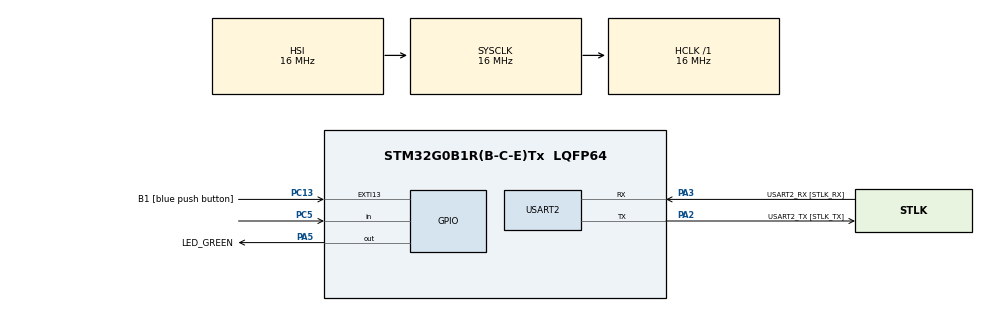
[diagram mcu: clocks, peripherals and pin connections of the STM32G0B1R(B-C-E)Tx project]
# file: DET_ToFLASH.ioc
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Mcu.Family=STM32G0
Mcu.Name=STM32G0B1R(B-C-E)Tx
Mcu.Package=LQFP64
NVIC.EXTI4_15_IRQn=true\:0\:0\:false\:false\:true\:true\:true\:true
PA13.GPIO_Label=TMS
PA13.Mode=Serial_Wire
PA13.Signal=SYS_SWDIO
PA14-BOOT0.GPIO_Label=TCK
PA14-BOOT0.Mode=Serial_Wire
PA14-BOOT0.Signal=SYS_SWCLK
PA2.GPIO_Label=USART2_TX [STLK_TX]
PA2.Mode=Asynchronous
PA2.Signal=USART2_TX
PA3.GPIO_Label=USART2_RX [STLK_RX]
PA3.Mode=Asynchronous
PA3.Signal=USART2_RX
PA5.GPIO_Label=LED_GREEN
PA5.GPIO_Speed=GPIO_SPEED_FREQ_HIGH
PA5.Signal=GPIO_Output
PC13.GPIO_Label=B1 [blue push button]
PC13.GPIO_ModeDefaultEXTI=GPIO_MODE_IT_FALLING
PC13.Signal=GPXTI13
PC14-OSC32_IN\ (PC14).Mode=LSE-External-Oscillator
PC14-OSC32_IN\ (PC14).Signal=RCC_OSC32_IN
PC15-OSC32_OUT\ (PC15).Mode=LSE-External-Oscillator
PC15-OSC32_OUT\ (PC15).Signal=RCC_OSC32_OUT
PC5.GPIO_PuPd=GPIO_PULLDOWN
PC5.Signal=GPIO_Input
PF0-OSC_IN\ (PF0).GPIO_Label=MCO
PF0-OSC_IN\ (PF0).Mode=HSE-External-Clock-Source
PF0-OSC_IN\ (PF0).Signal=RCC_OSC_IN
ProjectManager.HeapSize=0x200
ProjectManager.StackSize=0x400
ProjectManager.TargetToolchain=STM32CubeIDE
RCC.AHBFreq_Value=16000000
RCC.CortexFreq_Value=16000000
RCC.EXTERNAL_CLOCK_VALUE=12288000
RCC.HCLKFreq_Value=16000000
RCC.HSE_VALUE=8000000
RCC.HSI48_VALUE=48000000
RCC.HSI_VALUE=16000000
RCC.SYSCLKFreq_VALUE=16000000
RCC.USBFreq_Value=48000000
RCC.VCOOutputFreq_Value=128000000
USART2.VirtualMode-Asynchronous=VM_ASYNC
board=NUCLEO-G0B1RE

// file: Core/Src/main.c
/* USER CODE BEGIN Header */
/**
  ******************************************************************************
  * @file           : main.c
  * @brief          : Main program body
  ******************************************************************************
  * @attention
  *
  * Copyright (c) 2025 STMicroelectronics.
  * All rights reserved.
  *
  * This software is licensed under terms that can be found in the LICENSE file
  * in the root directory of this software component.
  * If no LICENSE file comes with this software, it is provided AS-IS.
  *
  ******************************************************************************
  */
/* USER CODE END Header */
#include "main.h"

UART_HandleTypeDef huart2;

/* USER CODE BEGIN PV */

uint32_t FirstPage = 0, NbOfPages = 0, BankNumber = 0;
uint32_t Address = 0, PageError = 0;

/*Variable used for Erase procedure*/
static FLASH_EraseInitTypeDef EraseInitStruct;

/* USER CODE END PV */

void SystemClock_Config(void);
static void MX_GPIO_Init(void);
static void MX_USART2_UART_Init(void);

void writeToFlash(uint32_t address, uint32_t data);
void eraseFlash(uint32_t startAddress, uint32_t endAddress);

static uint32_t GetPage(uint32_t Address);
static uint32_t GetBank(uint32_t Address);

GPIO_PinState Read_GPIO_Pin(GPIO_TypeDef* GPIOx, uint16_t GPIO_Pin);

/* USER CODE BEGIN 0 */

#define BUTTON_PIN GPIO_PIN_13
#define BUTTON_GPIO_PORT GPIOC

#define LED_PIN GPIO_PIN_5
#define LED_GPIO_PORT GPIOA

#define FLASH_DATA_SIZE 20
#define FLASH_START_ADDRESS 0x08010000  // Endereço inicial da memória Flash
#define FLASH_END_ADDRESS 0x080100A0

uint32_t flashAddress = FLASH_START_ADDRESS;
uint32_t dataToWrite = 0xFFFFFFFF;  // Dado a ser gravado
uint8_t dataIndex = 0;

/* USER CODE END 0 */

int main(void)
{

  /* MCU Configuration--------------------------------------------------------*/

  /* Reset of all peripherals, Initializes the Flash interface and the Systick. */

  HAL_Init();

  /* Configure the system clock */

  SystemClock_Config();

  /* Initialize all configured peripherals */

  MX_GPIO_Init();
  MX_USART2_UART_Init();

  /* USER CODE BEGIN 2 */

  // Apagar os dez endereços de memória no início do programa

     eraseFlash(FLASH_START_ADDRESS, (FLASH_START_ADDRESS + (FLASH_DATA_SIZE * 4)));
   //eraseFlash(FLASH_START_ADDRESS, FLASH_END_ADDRESS);

  /* USER CODE END 2 */

  /* Infinite loop */
  /* USER CODE BEGIN WHILE */
  while (1)
  {
	  if (HAL_GPIO_ReadPin(BUTTON_GPIO_PORT, BUTTON_PIN) == GPIO_PIN_RESET) {

		  HAL_Delay(50);  // Debounce

		  if (HAL_GPIO_ReadPin(BUTTON_GPIO_PORT, BUTTON_PIN) == GPIO_PIN_RESET) {

			  if (dataIndex < FLASH_DATA_SIZE) {

				  GPIO_PinState pinState = Read_GPIO_Pin(GPIOC, GPIO_PIN_5);
				  dataToWrite = pinState;
				  // Piscar o LED durante a gravação

				  HAL_GPIO_TogglePin(LED_GPIO_PORT, LED_PIN);
				  writeToFlash(flashAddress, dataToWrite);
				  HAL_Delay(500);
				  HAL_GPIO_TogglePin(LED_GPIO_PORT, LED_PIN);

				  // Incrementar o endereço e o índice
				  flashAddress += 4;
				  dataIndex++;
			  }
		  } while (HAL_GPIO_ReadPin(BUTTON_GPIO_PORT, BUTTON_PIN) == GPIO_PIN_RESET);  // Esperar soltar o botão
	  }
  }
    /* USER CODE END WHILE */

}

void SystemClock_Config(void)
{
  RCC_OscInitTypeDef RCC_OscInitStruct = {0};
  RCC_ClkInitTypeDef RCC_ClkInitStruct = {0};

  /** Configure the main internal regulator output voltage
  */
  HAL_PWREx_ControlVoltageScaling(PWR_REGULATOR_VOLTAGE_SCALE1);

  /** Initializes the RCC Oscillators according to the specified parameters
  * in the RCC_OscInitTypeDef structure.
  */
  RCC_OscInitStruct.OscillatorType = RCC_OSCILLATORTYPE_HSI;
  RCC_OscInitStruct.HSIState = RCC_HSI_ON;
  RCC_OscInitStruct.HSIDiv = RCC_HSI_DIV1;
  RCC_OscInitStruct.HSICalibrationValue = RCC_HSICALIBRATION_DEFAULT;
  RCC_OscInitStruct.PLL.PLLState = RCC_PLL_NONE;

  if (HAL_RCC_OscConfig(&RCC_OscInitStruct) != HAL_OK)
  {
    Error_Handler();
  }

  /** Initializes the CPU, AHB and APB buses clocks
  */
  RCC_ClkInitStruct.ClockType = RCC_CLOCKTYPE_HCLK|RCC_CLOCKTYPE_SYSCLK
                              |RCC_CLOCKTYPE_PCLK1;
  RCC_ClkInitStruct.SYSCLKSource = RCC_SYSCLKSOURCE_HSI;
  RCC_ClkInitStruct.AHBCLKDivider = RCC_SYSCLK_DIV1;
  RCC_ClkInitStruct.APB1CLKDivider = RCC_HCLK_DIV1;

  if (HAL_RCC_ClockConfig(&RCC_ClkInitStruct, FLASH_LATENCY_0) != HAL_OK)
  {
    Error_Handler();
  }
}

static void MX_USART2_UART_Init(void)
{

  huart2.Instance = USART2;
  huart2.Init.BaudRate = 115200;
  huart2.Init.WordLength = UART_WORDLENGTH_8B;
  huart2.Init.StopBits = UART_STOPBITS_1;
  huart2.Init.Parity = UART_PARITY_NONE;
  huart2.Init.Mode = UART_MODE_TX_RX;
  huart2.Init.HwFlowCtl = UART_HWCONTROL_NONE;
  huart2.Init.OverSampling = UART_OVERSAMPLING_16;
  huart2.Init.OneBitSampling = UART_ONE_BIT_SAMPLE_DISABLE;
  huart2.Init.ClockPrescaler = UART_PRESCALER_DIV1;
  huart2.AdvancedInit.AdvFeatureInit = UART_ADVFEATURE_NO_INIT;

  if (HAL_UART_Init(&huart2) != HAL_OK)
  {
    Error_Handler();
  }
  if (HAL_UARTEx_SetTxFifoThreshold(&huart2, UART_TXFIFO_THRESHOLD_1_8) != HAL_OK)
  {
    Error_Handler();
  }
  if (HAL_UARTEx_SetRxFifoThreshold(&huart2, UART_RXFIFO_THRESHOLD_1_8) != HAL_OK)
  {
    Error_Handler();
  }
  if (HAL_UARTEx_DisableFifoMode(&huart2) != HAL_OK)
  {
    Error_Handler();
  }

}

static void MX_GPIO_Init(void)
{
  GPIO_InitTypeDef GPIO_InitStruct = {0};

  /* GPIO Ports Clock Enable */
  __HAL_RCC_GPIOC_CLK_ENABLE();
  __HAL_RCC_GPIOF_CLK_ENABLE();
  __HAL_RCC_GPIOA_CLK_ENABLE();

  /*Configure GPIO pin Output Level */
  HAL_GPIO_WritePin(LED_GREEN_GPIO_Port, LED_GREEN_Pin, GPIO_PIN_RESET);

  /*Configure GPIO pin : B1_Pin */
  GPIO_InitStruct.Pin = B1_Pin;
  GPIO_InitStruct.Mode = GPIO_MODE_IT_FALLING;
  GPIO_InitStruct.Pull = GPIO_NOPULL;
  HAL_GPIO_Init(B1_GPIO_Port, &GPIO_InitStruct);

  /*Configure GPIO pin : LED_GREEN_Pin */
  GPIO_InitStruct.Pin = LED_GREEN_Pin;
  GPIO_InitStruct.Mode = GPIO_MODE_OUTPUT_PP;
  GPIO_InitStruct.Pull = GPIO_NOPULL;
  GPIO_InitStruct.Speed = GPIO_SPEED_FREQ_HIGH;
  HAL_GPIO_Init(LED_GREEN_GPIO_Port, &GPIO_InitStruct);

  /*Configure GPIO pin : PC5 */
  GPIO_InitStruct.Pin = GPIO_PIN_5;
  GPIO_InitStruct.Mode = GPIO_MODE_INPUT;
  GPIO_InitStruct.Pull = GPIO_PULLDOWN;
  HAL_GPIO_Init(GPIOC, &GPIO_InitStruct);

  /* EXTI interrupt init*/

  HAL_NVIC_SetPriority(EXTI4_15_IRQn, 0, 0);
  HAL_NVIC_EnableIRQ(EXTI4_15_IRQn);

}

/* USER CODE BEGIN 4 */

void writeToFlash(uint32_t address, uint32_t data) {

    HAL_FLASH_Unlock();

    uint32_t sectorError;

    EraseInitStruct.TypeErase = FLASH_TYPEERASE_PAGES;
    EraseInitStruct.Page = address;
    EraseInitStruct.NbPages = 1;

    //HAL_FLASHEx_Erase(&EraseInitStruct, &sectorError);
    HAL_FLASH_Program(FLASH_TYPEPROGRAM_DOUBLEWORD, address, data);

    HAL_FLASH_Lock();
}

GPIO_PinState Read_GPIO_Pin(GPIO_TypeDef* GPIOx, uint16_t GPIO_Pin) {
    return HAL_GPIO_ReadPin(GPIOx, GPIO_Pin);
}

void eraseFlash(uint32_t startAddress, uint32_t endAddress) {

	uint32_t pageError = 0;

    HAL_FLASH_Unlock();

    /* Clear OPTVERR bit set on virgin samples */
      __HAL_FLASH_CLEAR_FLAG(FLASH_FLAG_OPTVERR);

      /* Erase the user Flash area
        (area defined by FLASH_USER_START_ADDR and FLASH_USER_END_ADDR) ***********/

      /* Get the 1st page to erase */
      FirstPage = GetPage(FLASH_START_ADDRESS);

      /* Get the number of pages to erase from 1st page */
      NbOfPages = GetPage(FLASH_END_ADDRESS) - FirstPage + 1;

      /* Get the bank */
      BankNumber = GetBank(FLASH_START_ADDRESS);

    EraseInitStruct.TypeErase = FLASH_TYPEERASE_PAGES;
    EraseInitStruct.Banks = BankNumber;
    EraseInitStruct.Page = FirstPage;
    EraseInitStruct.NbPages = NbOfPages;

    __disable_irq();

    HAL_FLASHEx_Erase(&EraseInitStruct, &pageError);

    __enable_irq();

    HAL_FLASH_Lock();
}

static uint32_t GetPage(uint32_t Addr)
{
  uint32_t page = 0;

  if (Addr < (FLASH_BASE + FLASH_BANK_SIZE))
  {
    /* Bank 1 */
    page = (Addr - FLASH_BASE) / FLASH_PAGE_SIZE;
  }
  else
  {
    /* Bank 2 */
    page = (Addr - (FLASH_BASE + FLASH_BANK_SIZE)) / FLASH_PAGE_SIZE;
  }

  return page;
}

static uint32_t GetBank(uint32_t Addr)
{
  return FLASH_BANK_1;
}

/* USER CODE END 4 */

void Error_Handler(void)
{
  __disable_irq();
  while (1)
  {
  }
}
